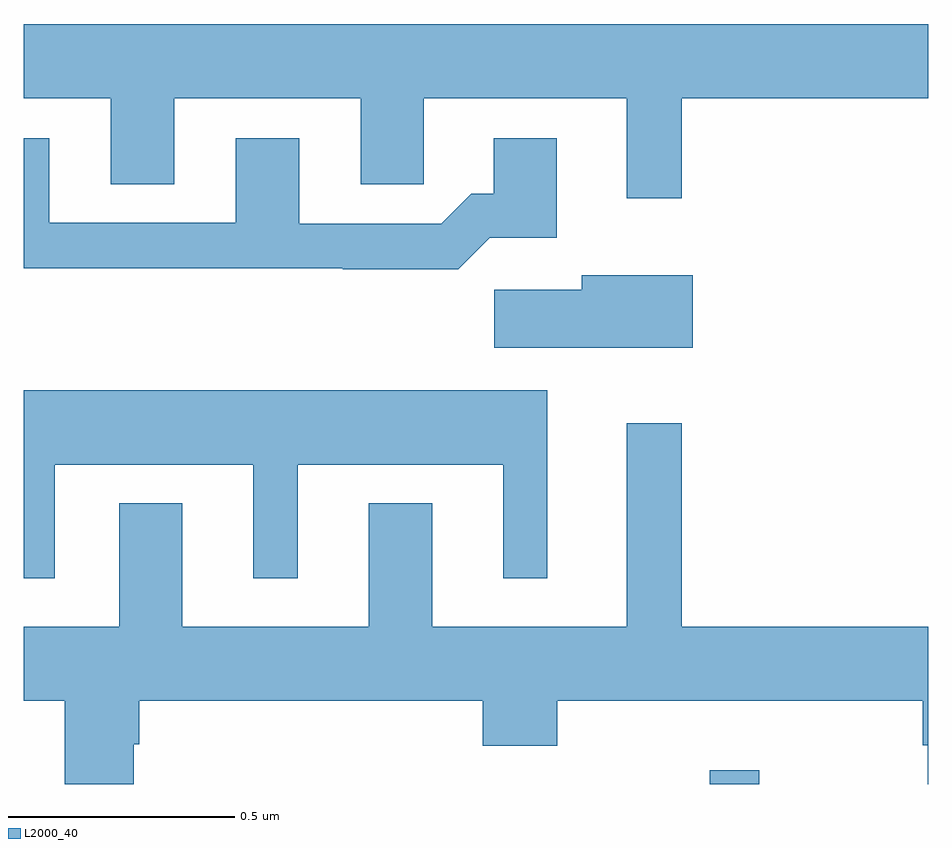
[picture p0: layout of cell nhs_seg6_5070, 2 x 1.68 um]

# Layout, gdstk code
import gdstk
lib = gdstk.Library(unit=1e-6, precision=1e-09)
def R(c, l, rs):  # rectangles x0, y0, x1, y1
    for r in rs: c.add(gdstk.rectangle(r[:2], r[2:], *l))
def P(c, l, *ps):  # polygons
    for p in ps: c.add(gdstk.Polygon(p, *l))
L2000_40 = (2000, 40)

nhs_seg6_5070 = lib.new_cell('nhs_seg6_5070')
R(nhs_seg6_5070, L2000_40, [(179.517,932.5,179.626,932.53)])
P(nhs_seg6_5070, L2000_40, [(179.455,934.016),(180,934.016),(180,934.18),(178,934.18),(178,934.016),(178.193,934.016),(178.193,933.826),(178.333,933.826),(178.333,934.016),(178.745,934.016),(178.745,933.826),(178.884,933.826),(178.884,934.016),(179.333,934.016),(179.333,933.795),(179.455,933.795)],
  [(179.03,933.707),(179.179,933.707),(179.179,933.928),(179.039,933.928),(179.039,933.805),(178.99,933.805),(178.923,933.738),(178.609,933.738),(178.609,933.928),(178.469,933.928),(178.469,933.741),(178.057,933.741),(178.057,933.928),(178,933.928),(178,933.64),(178.705,933.64),(178.705,933.638),(178.961,933.638)],
  [(179.479,933.625),(179.234,933.625),(179.234,933.593),(179.04,933.593),(179.04,933.464),(179.479,933.464)],
  [(178.069,933.206),(178.508,933.206),(178.508,932.955),(178.606,932.955),(178.606,933.206),(179.06,933.206),(179.06,932.955),(179.158,932.955),(179.158,933.37),(178,933.37),(178,932.955),(178.069,932.955)],
  [(179.015,932.585),(179.18,932.585),(179.18,932.684),(179.987,932.684),(179.987,932.586),(179.999,932.586),(179.999,932.5),(180,932.5),(180,932.848),(179.455,932.848),(179.455,933.298),(179.333,933.298),(179.333,932.848),(178.903,932.848),(178.903,933.121),(178.763,933.121),(178.763,932.848),(178.351,932.848),(178.351,933.121),(178.211,933.121),(178.211,932.848),(178,932.848),(178,932.684),(178.091,932.684),(178.091,932.5),(178.243,932.5),(178.243,932.588),(178.256,932.588),(178.256,932.684),(179.015,932.684)])

lib.write_gds('nhs_seg6_5070.gds')
